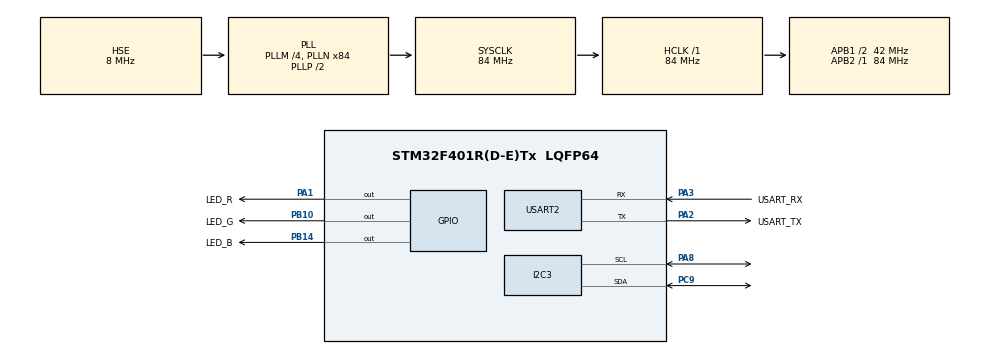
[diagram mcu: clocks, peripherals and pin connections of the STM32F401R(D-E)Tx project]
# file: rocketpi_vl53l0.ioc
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Mcu.Family=STM32F4
Mcu.Name=STM32F401R(D-E)Tx
Mcu.Package=LQFP64
NVIC.PriorityGroup=NVIC_PRIORITYGROUP_4
PA1.GPIO_Label=LED_R
PA1.Signal=GPIO_Output
PA13.GPIO_Label=TMS
PA13.Mode=Serial_Wire
PA13.Signal=SYS_JTMS-SWDIO
PA14.GPIO_Label=TCK
PA14.Mode=Serial_Wire
PA14.Signal=SYS_JTCK-SWCLK
PA2.GPIO_Label=USART_TX
PA2.GPIO_Mode=GPIO_MODE_AF_PP
PA2.GPIO_PuPd=GPIO_NOPULL
PA2.GPIO_Speed=GPIO_SPEED_FREQ_LOW
PA2.Mode=Asynchronous
PA2.Signal=USART2_TX
PA3.GPIO_Label=USART_RX
PA3.GPIO_Mode=GPIO_MODE_AF_PP
PA3.GPIO_PuPd=GPIO_NOPULL
PA3.GPIO_Speed=GPIO_SPEED_FREQ_LOW
PA3.Mode=Asynchronous
PA3.Signal=USART2_RX
PA8.Mode=I2C
PA8.Signal=I2C3_SCL
PB10.GPIO_Label=LED_G
PB10.Signal=GPIO_Output
PB14.GPIO_Label=LED_B
PB14.Signal=GPIO_Output
PC9.Mode=I2C
PC9.Signal=I2C3_SDA
PH0\ -\ OSC_IN.Mode=HSE-External-Oscillator
PH0\ -\ OSC_IN.Signal=RCC_OSC_IN
PH1\ -\ OSC_OUT.Mode=HSE-External-Oscillator
PH1\ -\ OSC_OUT.Signal=RCC_OSC_OUT
ProjectManager.HeapSize=0x800
ProjectManager.StackSize=0x800
ProjectManager.TargetToolchain=MDK-ARM V5.27
RCC.48MHZClocksFreq_Value=24000000
RCC.AHBFreq_Value=84000000
RCC.APB1CLKDivider=RCC_HCLK_DIV2
RCC.APB1Freq_Value=42000000
RCC.APB1TimFreq_Value=84000000
RCC.APB2Freq_Value=84000000
RCC.APB2TimFreq_Value=84000000
RCC.CortexFreq_Value=84000000
RCC.HCLKFreq_Value=84000000
RCC.HSE_VALUE=8000000
RCC.HSI_VALUE=16000000
RCC.LSE_VALUE=32768
RCC.PLLM=4
RCC.PLLN=84
RCC.PLLQ=7
RCC.PLLSourceVirtual=RCC_PLLSOURCE_HSE
RCC.SYSCLKFreq_VALUE=84000000
RCC.SYSCLKSource=RCC_SYSCLKSOURCE_PLLCLK
RCC.VCOOutputFreq_Value=168000000
USART2.VirtualMode=VM_ASYNC
board=NUCLEO-F401RE

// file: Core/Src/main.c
/* USER CODE BEGIN Header */
/**
  ******************************************************************************
  * @file           : main.c
  * @brief          : Main program body
  ******************************************************************************
  * @attention
  *
  * Copyright (c) 2025 STMicroelectronics.
  * All rights reserved.
  *
  * This software is licensed under terms that can be found in the LICENSE file
  * in the root directory of this software component.
  * If no LICENSE file comes with this software, it is provided AS-IS.
  *
  ******************************************************************************
  */
/* USER CODE END Header */
#include "main.h"
#include "i2c.h"
#include "usart.h"
#include "gpio.h"

/* USER CODE BEGIN Includes */
#include "driver_vl53l0_test.h"
#include <stdio.h>

/* USER CODE END Includes */

void SystemClock_Config(void);
/* USER CODE BEGIN PFP */
static void VL53L0X_CheckI2CAddress(uint8_t address7bit);
static void I2C3_ScanBus(void);

/* USER CODE END PFP */

/* USER CODE BEGIN 0 */
static void i2c_scan_bus(void)
{
  uint8_t found = 0U;

  printf("i2c1 scan start\r\n");
  for (uint16_t addr = 0U; addr < 128U; ++addr)
  {
    const uint16_t dev_addr = addr << 1;
    if (HAL_I2C_IsDeviceReady(&hi2c3, dev_addr, 2U, 5U) == HAL_OK)
    {
      printf(" - device found at 0x%02X\r\n", addr);
      found = 1U;
    }
  }
  if (found == 0U)
  {
    printf("no i2c device found\r\n");
  }
  printf("i2c1 scan done\r\n");
}

/* USER CODE END 0 */

int main(void)
{

  /* MCU Configuration--------------------------------------------------------*/

  /* Reset of all peripherals, Initializes the Flash interface and the Systick. */
  HAL_Init();

  /* Configure the system clock */
  SystemClock_Config();

  /* Initialize all configured peripherals */
  MX_GPIO_Init();
  MX_USART2_UART_Init();
  MX_I2C3_Init();
  /* USER CODE BEGIN 2 */
  i2c_scan_bus();

   if (vl53l0x_test_run(102400, 500U) != 0U)
    {
        printf("VL53L0X test failed\r\n");
    }
    vl53l0x_test_deinit();
  /* USER CODE END 2 */

  /* Infinite loop */
  while (1)
  {

  }
}

void SystemClock_Config(void)
{
  RCC_OscInitTypeDef RCC_OscInitStruct = {0};
  RCC_ClkInitTypeDef RCC_ClkInitStruct = {0};

  /** Configure the main internal regulator output voltage
  */
  __HAL_RCC_PWR_CLK_ENABLE();
  __HAL_PWR_VOLTAGESCALING_CONFIG(PWR_REGULATOR_VOLTAGE_SCALE2);

  /** Initializes the RCC Oscillators according to the specified parameters
  * in the RCC_OscInitTypeDef structure.
  */
  RCC_OscInitStruct.OscillatorType = RCC_OSCILLATORTYPE_HSE;
  RCC_OscInitStruct.HSEState = RCC_HSE_ON;
  RCC_OscInitStruct.PLL.PLLState = RCC_PLL_ON;
  RCC_OscInitStruct.PLL.PLLSource = RCC_PLLSOURCE_HSE;
  RCC_OscInitStruct.PLL.PLLM = 4;
  RCC_OscInitStruct.PLL.PLLN = 84;
  RCC_OscInitStruct.PLL.PLLP = RCC_PLLP_DIV2;
  RCC_OscInitStruct.PLL.PLLQ = 7;
  if (HAL_RCC_OscConfig(&RCC_OscInitStruct) != HAL_OK)
  {
    Error_Handler();
  }

  /** Initializes the CPU, AHB and APB buses clocks
  */
  RCC_ClkInitStruct.ClockType = RCC_CLOCKTYPE_HCLK|RCC_CLOCKTYPE_SYSCLK
                              |RCC_CLOCKTYPE_PCLK1|RCC_CLOCKTYPE_PCLK2;
  RCC_ClkInitStruct.SYSCLKSource = RCC_SYSCLKSOURCE_PLLCLK;
  RCC_ClkInitStruct.AHBCLKDivider = RCC_SYSCLK_DIV1;
  RCC_ClkInitStruct.APB1CLKDivider = RCC_HCLK_DIV2;
  RCC_ClkInitStruct.APB2CLKDivider = RCC_HCLK_DIV1;

  if (HAL_RCC_ClockConfig(&RCC_ClkInitStruct, FLASH_LATENCY_2) != HAL_OK)
  {
    Error_Handler();
  }
}

void Error_Handler(void)
{
  __disable_irq();
  while (1)
  {
  }
}
